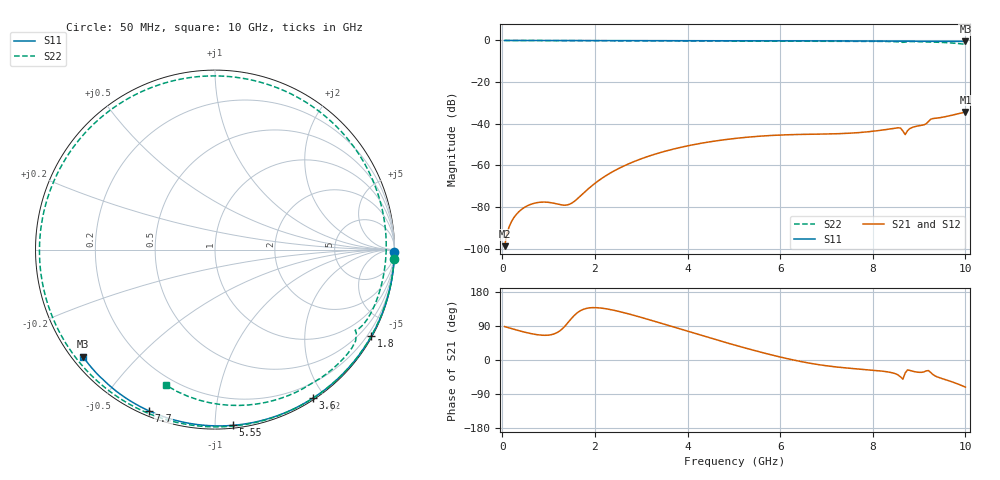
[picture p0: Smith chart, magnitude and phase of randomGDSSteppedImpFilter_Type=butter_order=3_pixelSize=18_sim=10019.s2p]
! freq	dB(S11)	phase(S11)	dB(S12)	phase(S12)
!  dB(S21)	phase(S21)	dB(S22)	phase(S22)
!S-par simulation data
#  GHz  S  DB  R 50
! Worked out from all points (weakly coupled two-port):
!   200 points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, 50 MHz to 10 GHz, reference 50 ohm
!   highest |S21| = -34.41 dB at 10 GHz (marker M1); lowest = -98.9 dB at 50 MHz (marker M2)
!   lowest |S11| = -0.5 dB at 10 GHz (marker M3), VSWR 36.66, Z = 1.54 - j17.7 ohm
!   |S11| at or under -10 dB: nowhere
!   |S22| runs from -1.9 to 0.0 dB; largest |S21 - S12| = 0
!   S11 on the Smith chart (normalised r, x): 50 MHz: open; 1.8 GHz: 0.03, -3.88; 3.6 GHz: 0.02, -1.86; 5.55 GHz: 0.02, -1.11; 7.7 GHz: 0.02, -0.67; 10 GHz: 0.03, -0.35
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0.05  -0.00 -0.8  -98.88 88.2  -98.88 88.2  -0.00 -2.9
0.45  -0.01 -7.3  -80.67 74.5  -80.67 74.5  -0.04 -25.7
0.95  -0.02 -15.4  -77.72 65.3  -77.72 65.3  -0.07 -53.5
1.4  -0.03 -22.6  -79.07 95.9  -79.07 95.9  -0.09 -77.4
1.75  -0.04 -28.1  -73.46 133.7  -73.46 133.7  -0.11 -95.0
1.8  -0.04 -28.9  -72.43 135.6  -72.43 135.6  -0.12 -97.5
2.65  -0.05 -42.1  -60.08 124.1  -60.08 124.1  -0.15 -137.2
3.4  -0.07 -53.5  -53.97 98.0  -53.97 98.0  -0.18 -169.7
3.6  -0.08 -56.5  -52.74 90.7  -52.74 90.7  -0.19 -178.2
4.3  -0.09 -66.7  -49.39 64.9  -49.39 64.9  -0.22 152.6
5.05  -0.12 -77.3  -47.04 38.3  -47.04 38.3  -0.26 121.3
5.55  -0.14 -84.2  -46.03 21.7  -46.03 21.7  -0.28 100.2
6.1  -0.16 -91.6  -45.37 5.0  -45.37 5.0  -0.30 76.8
6.7  -0.19 -99.5  -45.06 -9.7  -45.06 -9.7  -0.32 51.3
7.7  -0.26 -112.3  -44.28 -23.8  -44.28 -23.8  -0.38 9.2
8.35  -0.31 -120.5  -42.61 -32.0  -42.61 -32.0  -0.51 -18.1
8.6  -0.33 -123.6  -42.11 -44.7  -42.11 -44.7  -0.78 -28.8
8.7  -0.34 -124.9  -45.25 -34.3  -45.25 -34.3  -0.78 -30.5
8.8  -0.35 -126.1  -42.36 -27.5  -42.36 -27.5  -0.54 -35.7
9.4  -0.41 -133.5  -37.28 -45.0  -37.28 -45.0  -0.85 -65.9
9.75  -0.44 -137.8  -35.73 -59.3  -35.73 -59.3  -1.28 -88.2
10  -0.47 -141.0  -34.41 -71.7  -34.41 -71.7  -1.90 -109.9
